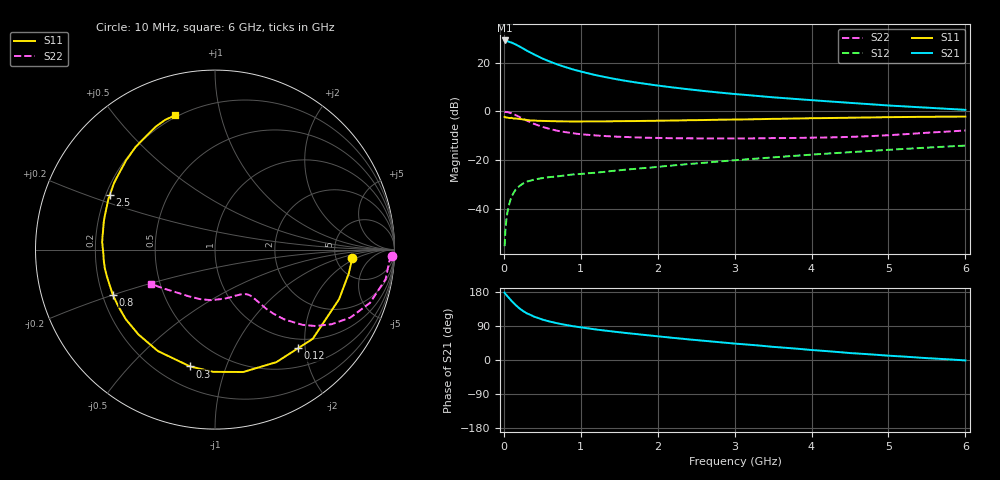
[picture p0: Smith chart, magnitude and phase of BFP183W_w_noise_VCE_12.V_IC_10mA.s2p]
! Infineon Technologies  Discrete & RF Semiconductors
! BFP183W
! VCE =  12. V,  IC =  10 mA
! Common Emitter S-Parameters:  Jan 2017
# GHz  S  MA  R  50
!  f  S11  S21  S12  S22
! GHz  MAG  ANG  MAG  ANG  MAG  ANG  MAG  ANG
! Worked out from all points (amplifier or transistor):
!   77 points, 10 MHz to 6 GHz, reference 50 ohm
!   highest |S21| = 29.1 dB at 10 MHz (marker M1)
!   |S21| within 3 dB of that: start of sweep to 233 MHz
!   unconditionally stable (mu >= 1): 1.705 GHz to 3.875 GHz
!   at 130 MHz: K = 0.15, MSG = 30.6 dB, |S12| = -33.4 dB
!   at 2.2 GHz: K = 1.06, MAG = 14.5 dB, |S12| = -22.2 dB
!   at 6 GHz: K = 0.84, MSG = 7.3 dB, |S12| = -14.1 dB
!   lowest NFmin = 0.92 dB at 450 MHz
!   S11 on the Smith chart (normalised r, x): 10 MHz: 7.19, -1.63; 120 MHz: 0.82, -1.86; 300 MHz: 0.32, -0.76; 800 MHz: 0.24, -0.20; 2.5 GHz: 0.22, +0.23; 6 GHz: 0.19, +0.73
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0.01  0.7666 -3.5  28.62 177.7  0.0017 66.8  0.985 -2.0
0.02  0.7571 -10.1  28.37 174.4  0.0035 86.0  0.973 -4.0
0.05  0.7445 -21.8  27.54 167.5  0.009 76.7  0.9647 -9.9
0.1  0.7373 -42.4  25.95 155.9  0.0175 70.0  0.913 -19.0
0.12  0.7185 -49.8  25.03 152.0  0.0202 66.0  0.8833 -21.9
0.15  0.7142 -61.4  23.89 145.6  0.0243 61.7  0.8435 -26.7
0.2  0.6999 -77.0  21.66 136.6  0.029 55.0  0.7715 -32.6
0.25  0.6812 -90.7  19.58 129.2  0.0329 50.1  0.7043 -37.2
0.3  0.6656 -102.1  17.63 123.1  0.036 46.3  0.643 -40.7
0.4  0.6487 -119.4  14.59 113.7  0.0399 42.3  0.548 -45.2
0.5  0.6367 -132.1  12.22 106.8  0.0425 39.8  0.4816 -47.7
0.6  0.6306 -142.0  10.51 101.3  0.0447 38.6  0.4335 -49.2
0.7  0.6247 -149.6  9.152 96.7  0.0462 38.5  0.3981 -49.9
0.8  0.6226 -156.2  8.12 92.7  0.0485 38.7  0.3742 -50.5
1.1  0.6225 -170.3  6.021 83.4  0.0536 40.5  0.3291 -52.1
1.5  0.6297 176.3  4.465 73.3  0.0615 44.3  0.3004 -55.7
2.1  0.6446 160.9  3.241 60.5  0.075 47.9  0.2826 -64.5
2.5  0.6603 152.6  2.73 52.6  0.0852 49.3  0.2785 -72.6
3.1  0.6824 141.7  2.204 41.8  0.1018 50.1  0.2779 -85.7
4.1  0.7257 126.3  1.656 24.9  0.1323 48.5  0.2891 -109.4
5.1  0.7627 114.8  1.293 10.2  0.1655 44.8  0.3308 -135.5
6  0.7808 106.4  1.074 -1.1  0.198 39.9  0.4046 -152.0
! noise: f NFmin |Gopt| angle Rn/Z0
0.45  0.92  0.1  112  0.11
0.9  0.97  0.18  144  0.09
1.9  1.47  0.37  -176  0.07
2.4  1.72  0.44  -167  0.09
